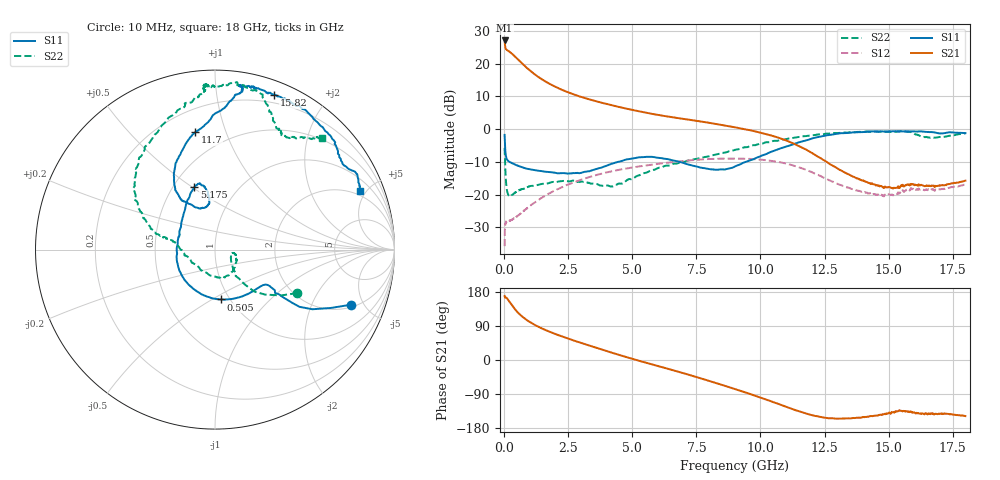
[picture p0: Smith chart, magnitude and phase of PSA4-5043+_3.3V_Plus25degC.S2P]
!Mini-Circuits Laboratory
!S-Parameters
!Model: PSA4-5043+
!Run / Lot / Date Code: QM1149032 / NA / 1149
!Fixture: ON TB-471+
!Network Analyzer: PNA-X N5242A - 423 4 ports;  Serial number: 71013
!Date: 3/2/2012 at 1:22:55 PM
!S/N: Unit# 1
!Tested with: AT 25C, vdd= 3.3V
# Hz  S  dB  R  50
!Frequency  S11 dB  S11 Deg  S21 dB  S21 Deg  S12 dB  S12 Deg  S22 dB  S22 Deg
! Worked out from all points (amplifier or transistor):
!   879 points, 10 MHz to 18 GHz, reference 50 ohm
!   highest |S21| = 27.1 dB at 10 MHz (marker M1)
!   |S21| within 3 dB of that: start of sweep to 115 MHz
!   unconditionally stable (mu >= 1): 76.26 MHz to 9.328 GHz; 11.72 GHz to 11.92 GHz; 16.27 GHz to 17.66 GHz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
!   at 740 MHz: K = 1.12, MAG = 20.3 dB, |S12| = -25.1 dB
!   at 7.025 GHz: K = 1.04, MAG = 5.2 dB, |S12| = -9.7 dB
!   at 18 GHz: K = 0.59, MSG = 0.6 dB, |S12| = -16.9 dB
!   S11 on the Smith chart (normalised r, x): 10 MHz: 2.17, -4.03; 505 MHz: 0.91, -0.55; 5.175 GHz: 0.63, +0.51; 11.7 GHz: 0.34, +0.79; 15.82 GHz: 0.12, +1.45; 18 GHz: 1.65, +4.53
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1e7  -1.74 -22.0  27.09 169.0  -35.72 48.0  -5.71 -27.9
4e7  -6.76 -35.0  24.93 165.1  -28.95 24.2  -12.68 -50.1
6.5e7  -8.37 -34.1  24.44 164.9  -28.51 17.8  -16.07 -47.5
3.05e8  -10.40 -58.4  23.00 143.4  -27.57 22.3  -20.03 -10.9
4e8  -10.72 -70.9  22.32 135.1  -27.16 26.8  -19.47 -10.6
5.05e8  -11.07 -83.6  21.51 127.0  -26.51 30.8  -18.91 -12.0
6.6e8  -11.51 -100.1  20.31 116.7  -25.51 35.8  -18.36 -15.7
8.45e8  -11.98 -115.8  18.94 106.8  -24.36 40.0  -17.91 -22.5
1e9  -12.23 -126.7  17.89 99.8  -23.46 42.8  -17.38 -26.7
1.3e9  -12.65 -143.5  16.10 88.6  -21.78 45.2  -17.01 -35.2
1.6e9  -12.98 -156.8  14.58 79.3  -20.30 45.8  -16.63 -42.4
1.975e9  -13.30 -170.8  13.02 69.0  -18.70 44.6  -16.12 -52.2
3.025e9  -13.26 156.0  9.80 44.5  -15.34 36.3  -15.98 -80.5
4.05e9  -10.99 126.0  7.58 22.3  -13.10 23.9  -17.21 -126.5
5.175e9  -8.69 108.2  5.60 -0.4  -11.48 9.0  -14.31 179.7
6.025e9  -8.75 101.5  4.33 -16.4  -10.54 -2.5  -11.79 168.0
9.025e9  -11.28 116.5  0.55 -77.0  -8.96 -52.3  -6.26 151.5
1.17e10  -3.56 99.5  -5.91 -139.4  -12.16 -108.8  -2.15 108.8
1.2025e10  -2.84 92.3  -7.32 -146.0  -13.18 -114.8  -1.85 103.9
1.5025e10  -0.66 79.1  -17.72 -138.6  -19.84 -110.8  -0.80 91.0
1.5825e10  -0.69 69.0  -17.18 -137.6  -18.75 -113.8  -0.84 74.1
1.8e10  -1.19 22.2  -15.71 -148.0  -16.86 -137.4  -1.30 46.2
